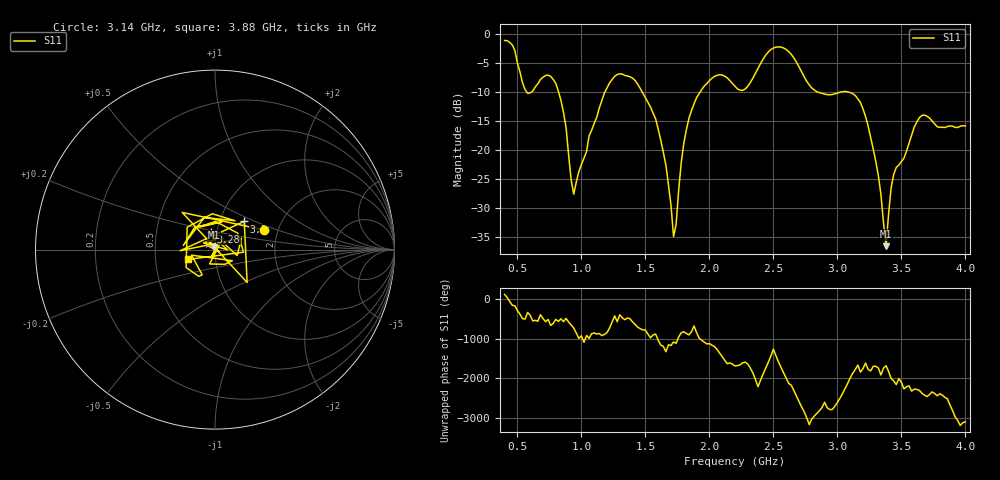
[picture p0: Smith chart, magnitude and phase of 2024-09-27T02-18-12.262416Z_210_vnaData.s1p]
!Created with skrf (http://scikit-rf.org).
# Hz S RI R 50.0
!freq ReS11 ImS11
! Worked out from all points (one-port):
!   181 points, 400 MHz to 4 GHz, reference 50 ohm
!   lowest |S11| = -36.5 dB at 3.38 GHz (marker M1), VSWR 1.03, Z = 49.3 + j1.32 ohm
!   |S11| at or under -10 dB: 821.7 MHz to 1.184 GHz (362.1 MHz wide, 36.1 % of centre); 1.475 GHz to 1.928 GHz (453 MHz wide, 26.6 % of centre); 3.083 GHz to end of sweep (the widest 3 of 5)
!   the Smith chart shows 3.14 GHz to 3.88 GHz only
!   S11 on the Smith chart (normalised r, x): 3.14 GHz: 1.69, +0.41; 3.2 GHz: 1.31, +0.43; 3.28 GHz: 0.94, +0.19; 3.88 GHz: 0.73, -0.08
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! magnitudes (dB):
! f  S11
! 400 MHz  -1.1
! 580 MHz  -10.2
! 760 MHz  -7.3
! 860 MHz  -13.5
! 940 MHz  -27.6
! 1.18 GHz  -10.2
! 1.3 GHz  -6.9
! 1.58 GHz  -14.6
! 1.66 GHz  -22.6
! 1.72 GHz  -34.9
! 1.76 GHz  -26.9
! 1.82 GHz  -16.5
! 1.9 GHz  -11.0
! 2.06 GHz  -7.1
! 2.2 GHz  -9.0
! 2.5 GHz  -2.4
! 2.66 GHz  -4.2
! 2.84 GHz  -10.0
! 3.1 GHz  -10.1
! 3.14 GHz  -10.6
! 3.2 GHz  -12.9
! 3.28 GHz  -19.8
! 3.38 GHz  -36.5
! 3.44 GHz  -24.2
! 3.56 GHz  -18.8
! 3.66 GHz  -14.0
! 3.88 GHz  -15.8
! 4 GHz  -15.8
